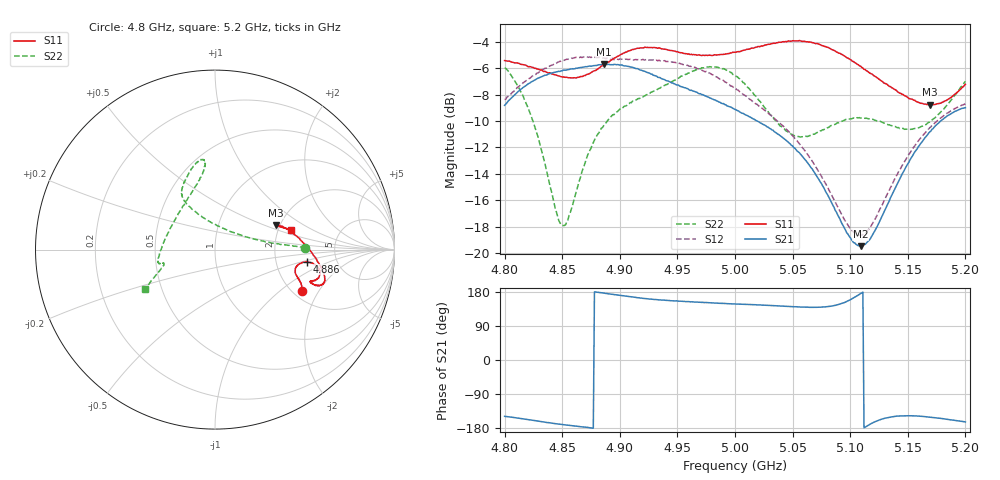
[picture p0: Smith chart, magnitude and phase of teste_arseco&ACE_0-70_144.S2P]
! Network Analyzer HP8722D
! Hewlett-Packard
! Data name: Linha & Wilkinson
! Saver's name: Rodrigo Anjos
! Comments: Teste da utilização de aquisição
! continua pelo VNA HP8722D
! Time and date: 8/5/2025 13:57
!  Frequency  S11  S21  S12  S22
# HZ  S  MA R 50
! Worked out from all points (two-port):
!   401 points, 4.8 GHz to 5.2 GHz, reference 50 ohm
!   highest |S21| = -5.71 dB at 4.886 GHz (marker M1); lowest = -19.5 dB at 5.109 GHz (marker M2)
!   |S21| within 3 dB of the highest: 4.801 GHz to 4.99 GHz (189.2 MHz wide, 3.86 % of centre)
!   lowest |S11| = -8.8 dB at 5.169 GHz (marker M3), VSWR 2.15, Z = 94.8 + j29.9 ohm
!   |S11| at or under -10 dB: nowhere
!   |S22| runs from -17.9 to -5.9 dB; largest |S21 - S12| = 1.1
!   S11 on the Smith chart (normalised r, x): 4.8 GHz: 2.22, -1.44; 4.886 GHz: 3.02, -0.55; 5.2 GHz: 2.33, +0.63
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4.8e9  0.5354 -25.6  0.3625 -148.6  0.3816 10.8  0.503 1.3
4.812e9  0.5232 -22.4  0.4098 -153.5  0.4261 8.9  0.4246 2.8
4.823e9  0.5066 -20.6  0.4442 -158.5  0.4631 7.4  0.3303 6.2
4.849e9  0.4651 -16.1  0.4895 -169.8  0.532 3.2  0.1283 57.8
4.855e9  0.4613 -14.5  0.4947 -172.0  0.5412 2.3  0.1336 84.7
4.867e9  0.4659 -10.9  0.5045 -176.3  0.5497 0.7  0.2022 112.4
4.878e9  0.4901 -8.6  0.5128 179.9  0.5509 -0.4  0.2678 119.9
4.886e9  0.5154 -7.4  0.5185 176.8  0.5479 -0.8  0.3037 121.8
4.913e9  0.5924 -11.1  0.5012 165.5  0.5394 -0.2  0.3778 119.4
4.934e9  0.5981 -15.5  0.4622 158.6  0.5374 -1.3  0.4201 113.2
4.973e9  0.5606 -18.4  0.3958 151.6  0.4881 -4.9  0.503 100.3
5e9  0.5762 -19.3  0.3496 147.7  0.4216 -4.9  0.4717 96.9
5.015e9  0.5973 -19.5  0.3236 146.1  0.3759 -2.9  0.4074 101.9
5.044e9  0.6326 -17.6  0.2679 141.7  0.2954 3.1  0.2905 131.1
5.067e9  0.6261 -13.4  0.2083 139.0  0.2231 9.5  0.281 164.5
5.097e9  0.5492 -3.4  0.1193 154.5  0.1299 35.4  0.3199 -171.1
5.109e9  0.5101 2.2  0.1062 175.2  0.1169 58.4  0.3242 -167.2
5.119e9  0.4761 7.3  0.1163 -166.6  0.1285 77.8  0.3209 -165.9
5.134e9  0.4275 14.2  0.158 -151.0  0.1731 94.8  0.3058 -165.6
5.152e9  0.3837 20.4  0.2257 -147.1  0.2399 101.6  0.2941 -164.5
5.169e9  0.3645 22.1  0.2873 -150.7  0.298 102.6  0.3133 -160.9
5.2e9  0.4351 14.7  0.355 -163.4  0.3675 103.2  0.4468 -150.4
